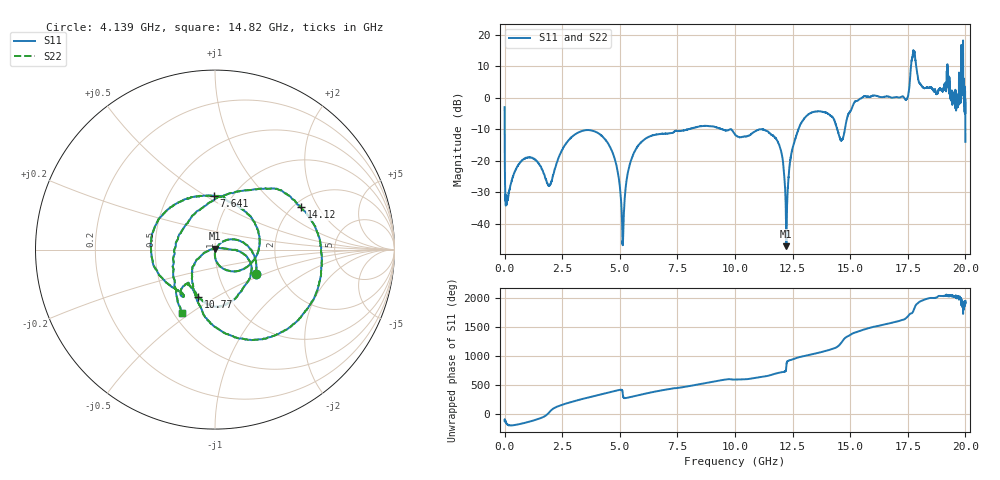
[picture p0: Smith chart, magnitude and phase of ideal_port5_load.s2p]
! Created with skrf (http://scikit-rf.org).
# GHz S RI R 50.0
!freq ReS11 ImS11 ReS21 ImS21 ReS12 ImS12 ReS22 ImS22
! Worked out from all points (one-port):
!   10001 points, 1 MHz to 20 GHz, reference 50 ohm
!   lowest |S11| = -47.0 dB at 12.23 GHz (marker M1), VSWR 1.01, Z = 50 + j0.444 ohm
!   |S11| at or under -10 dB: 2.7 MHz to 7.936 GHz (7.934 GHz wide, 200 % of centre); 9.844 GHz to 11.04 GHz (1.198 GHz wide, 11.5 % of centre); 11.22 GHz to 12.75 GHz (1.537 GHz wide, 12.8 % of centre) (the widest 3 of 13)
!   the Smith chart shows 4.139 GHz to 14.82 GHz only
!   S11 on the Smith chart (normalised r, x): 4.139 GHz: 1.51, -0.44; 7.641 GHz: 0.82, +0.54; 10.77 GHz: 0.73, -0.41; 14.12 GHz: 2.19, +1.44; 14.82 GHz: 0.55, -0.46
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0.001  -0.4057 -0.5886  0 0  0 0  -0.4057 -0.5886
3.334833  -0.107 -0.2772  0 0  0 0  -0.107 -0.2772
4.138793  0.2274 -0.1348  0 0  0 0  0.2274 -0.1348
5.132743  0.00474 -0.00237  0 0  0 0  0.00474 -0.00237
6.668667  0.2245 0.1397  0 0  0 0  0.2245 0.1397
7.640618  -0.00778 0.3003  0 0  0 0  -0.00778 0.3003
10.0005  -0.1711 -0.2002  0 0  0 0  -0.1711 -0.2002
10.77046  -0.0933 -0.2617  0 0  0 0  -0.0933 -0.2617
12.22839  0.000401 0.00443  0 0  0 0  0.000401 0.00443
13.33433  0.3497 -0.4714  0 0  0 0  0.3497 -0.4714
14.12029  0.4789 0.236  0 0  0 0  0.4789 0.236
14.81826  -0.1858 -0.3537  0 0  0 0  -0.1858 -0.3537
15.58622  1.014 0.2868  0 0  0 0  1.014 0.2868
16.66817  -0.5234 0.908  0 0  0 0  -0.5234 0.908
17.42413  -0.785 -0.5209  0 0  0 0  -0.785 -0.5209
17.64612  1.432 -3.133  0 0  0 0  1.432 -3.133
17.73611  4.752 -2.66  0 0  0 0  4.752 -2.66
17.86811  0.0856 3.178  0 0  0 0  0.0856 3.178
18.0881  -1.384 0.7492  0 0  0 0  -1.384 0.7492
19.20604  -0.9663 -1.908  0 0  0 0  -0.9663 -1.908
19.89601  4.593 2.568  0 0  0 0  4.593 2.568
20  -0.1726 0.1031  0 0  0 0  -0.1726 0.1031
